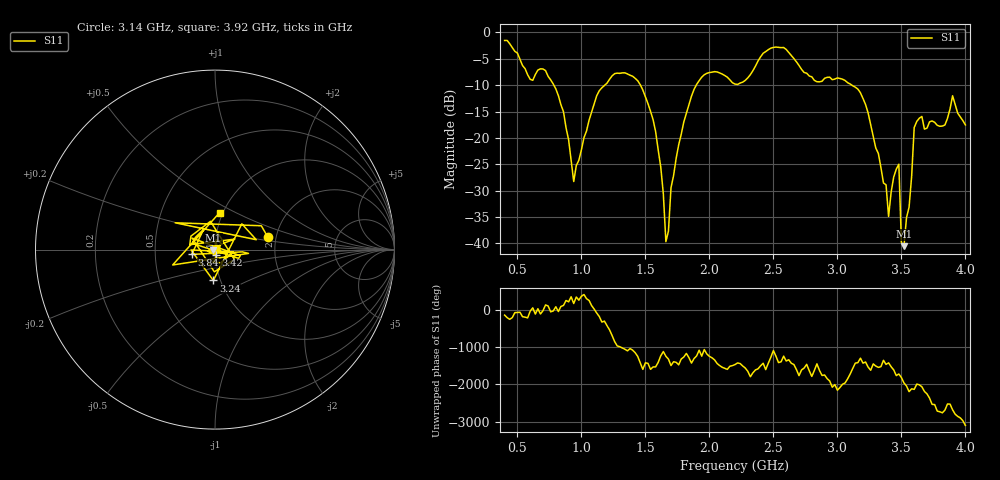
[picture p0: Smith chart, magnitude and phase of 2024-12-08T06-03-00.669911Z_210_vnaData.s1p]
!Created with skrf (http://scikit-rf.org).
# Hz S RI R 50.0
!freq ReS11 ImS11
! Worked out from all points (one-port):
!   181 points, 400 MHz to 4 GHz, reference 50 ohm
!   lowest |S11| = -40.6 dB at 3.52 GHz (marker M1), VSWR 1.02, Z = 49.1 - j0.324 ohm
!   |S11| at or under -10 dB: 784.8 MHz to 1.182 GHz (397.2 MHz wide, 40.4 % of centre); 1.462 GHz to 1.897 GHz (435.5 MHz wide, 25.9 % of centre); 3.113 GHz to end of sweep
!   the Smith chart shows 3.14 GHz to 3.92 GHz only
!   S11 on the Smith chart (normalised r, x): 3.14 GHz: 1.81, +0.28; 3.24 GHz: 0.93, -0.33; 3.42 GHz: 1.00, -0.06; 3.84 GHz: 0.77, -0.04; 3.92 GHz: 0.97, +0.42
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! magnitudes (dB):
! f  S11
! 400 MHz  -1.5
! 720 MHz  -7.2
! 860 MHz  -15.0
! 940 MHz  -28.3
! 1.12 GHz  -12.0
! 1.3 GHz  -7.8
! 1.56 GHz  -16.5
! 1.62 GHz  -25.5
! 1.66 GHz  -39.7
! 1.76 GHz  -21.3
! 1.94 GHz  -8.5
! 2.2 GHz  -9.8
! 2.48 GHz  -3.0
! 2.66 GHz  -4.9
! 3.1 GHz  -9.8
! 3.14 GHz  -10.4
! 3.24 GHz  -15.3
! 3.4 GHz  -34.9
! 3.42 GHz  -30.3
! 3.48 GHz  -25.0
! 3.5 GHz  -39.8
! 3.52 GHz  -40.6
! 3.56 GHz  -33.2
! 3.6 GHz  -18.0
! 3.62 GHz  -16.9
! 3.84 GHz  -17.6
! 3.92 GHz  -13.6
! 4 GHz  -17.5
